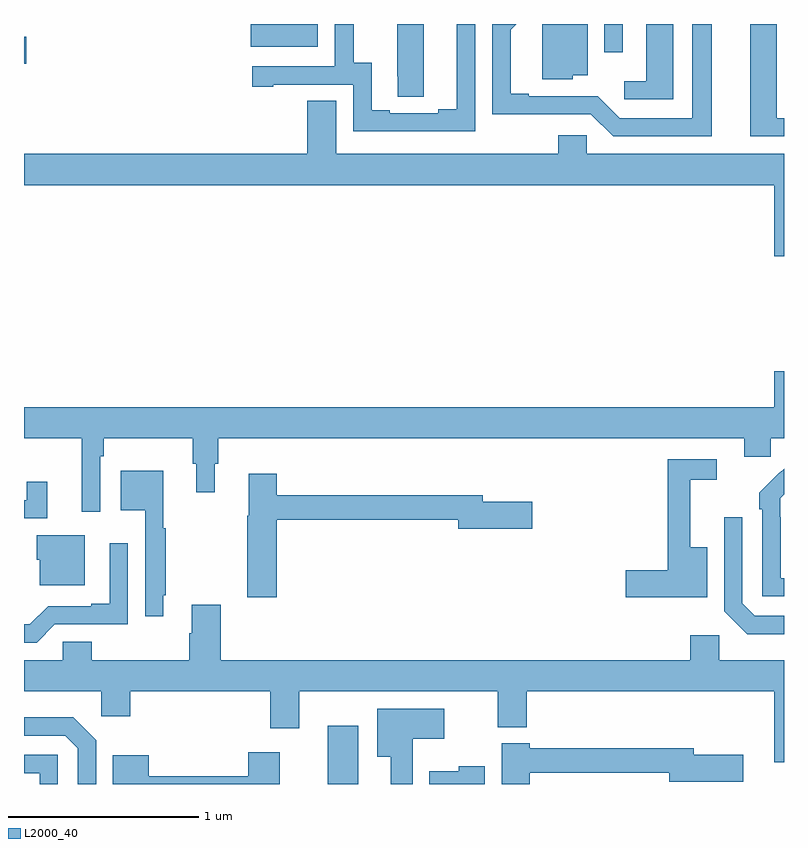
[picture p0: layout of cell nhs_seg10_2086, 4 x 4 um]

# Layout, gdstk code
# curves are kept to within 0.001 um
import gdstk
lib = gdstk.Library(unit=1e-6, precision=1e-09)
def R(c, l, rs):  # rectangles x0, y0, x1, y1
    for r in rs: c.add(gdstk.rectangle(r[:2], r[2:], *l))
def P(c, l, *ps):  # polygons
    for p in ps: c.add(gdstk.Polygon(p, *l))
L2000_40 = (2000, 40)

nhs_seg10_2086 = lib.new_cell('nhs_seg10_2086')
R(nhs_seg10_2086, L2000_40, [(222.599,1294.5,222.76,1294.807), (221,1298.29,221.011,1298.432), (224.055,1298.352,224.151,1298.5), (222.194,1298.381,222.547,1298.5)])
P(nhs_seg10_2086, L2000_40, [(223.887,1298.231),(223.966,1298.231),(223.966,1298.5),(223.727,1298.5),(223.727,1298.21),(223.887,1298.21)],
  [(223.374,1298.5),(223.277,1298.5),(223.277,1298.051),(223.181,1298.051),(223.181,1298.031),(222.925,1298.031),(222.925,1298.046),(222.829,1298.046),(222.829,1298.297),(222.735,1298.297),(222.735,1298.5),(222.636,1298.5),(222.636,1298.277),(222.201,1298.277),(222.201,1298.169),(222.313,1298.169),(222.313,1298.181),(222.732,1298.181),(222.732,1297.935),(223.374,1297.935)],
  [(225,1298.004),(224.962,1298.004),(224.962,1298.5),(224.822,1298.5),(224.822,1297.908),(225,1297.908)],
  [(224.62,1298.5),(224.516,1298.5),(224.516,1298.004),(224.136,1298.004),(224.019,1298.121),(223.657,1298.121),(223.657,1298.134),(223.561,1298.134),(223.561,1298.47),(223.591,1298.5),(223.464,1298.5),(223.464,1298.024),(223.983,1298.025),(224.1,1297.908),(224.62,1297.908)],
  [(223.105,1298.5),(222.965,1298.5),(222.965,1298.224),(222.966,1298.224),(222.966,1298.116),(223.105,1298.116)],
  [(224.416,1298.5),(224.276,1298.5),(224.276,1298.2),(224.16,1298.2),(224.16,1298.103),(224.416,1298.103)],
  [(225,1297.816),(223.962,1297.816),(223.962,1297.914),(223.811,1297.914),(223.811,1297.816),(222.643,1297.816),(222.643,1298.096),(222.491,1298.096),(222.491,1297.816),(221,1297.816),(221,1297.652),(224.948,1297.652),(224.948,1297.278),(225,1297.278)],
  [(221.4,1296.224),(221.42,1296.224),(221.42,1296.32),(221.887,1296.32),(221.887,1296.186),(221.906,1296.186),(221.906,1296.036),(222.004,1296.036),(222.004,1296.186),(222.023,1296.186),(222.023,1296.32),(224.792,1296.32),(224.792,1296.222),(224.931,1296.222),(224.931,1296.32),(225,1296.32),(225,1296.673),(224.948,1296.673),(224.948,1296.484),(221,1296.484),(221,1296.32),(221.303,1296.32),(221.303,1295.934),(221.4,1295.934)],
  [(224.596,1295.746),(224.507,1295.746),(224.507,1296.102),(224.647,1296.102),(224.647,1296.21),(224.389,1296.21),(224.389,1295.624),(224.166,1295.624),(224.166,1295.482),(224.596,1295.482)],
  [(225,1295.583),(224.982,1295.583),(224.982,1295.903),(224.979,1295.903),(224.979,1296.003),(225,1296.024),(225,1296.16),(224.977,1296.137),(224.976,1296.138),(224.871,1296.033),(224.871,1295.945),(224.886,1295.945),(224.886,1295.487),(225,1295.487)],
  [(221.734,1295.494),(221.746,1295.494),(221.746,1295.846),(221.734,1295.846),(221.734,1296.148),(221.51,1296.148),(221.51,1295.942),(221.637,1295.942),(221.637,1295.382),(221.734,1295.382)],
  [(222.329,1295.89),(223.286,1295.89),(223.286,1295.843),(223.675,1295.843),(223.675,1295.985),(223.414,1295.985),(223.414,1296.019),(222.329,1296.019),(222.329,1296.133),(222.182,1296.133),(222.182,1295.913),(222.175,1295.913),(222.175,1295.484),(222.329,1295.484)],
  [(221.123,1296.091),(221.014,1296.091),(221.014,1295.994),(221,1295.994),(221,1295.898),(221.123,1295.898)],
  [(225,1295.385),(224.847,1295.385),(224.781,1295.451),(224.781,1295.905),(224.685,1295.905),(224.685,1295.409),(224.806,1295.288),(225,1295.288)],
  [(221.32,1295.809),(221.066,1295.809),(221.066,1295.679),(221.084,1295.679),(221.084,1295.546),(221.32,1295.546)],
  [(221.163,1295.34),(221.547,1295.34),(221.547,1295.767),(221.45,1295.767),(221.45,1295.449),(221.354,1295.449),(221.354,1295.436),(221.127,1295.436),(221.031,1295.34),(221,1295.34),(221,1295.244),(221.067,1295.244)],
  [(225,1295.152),(224.658,1295.152),(224.658,1295.284),(224.507,1295.284),(224.507,1295.152),(222.035,1295.152),(222.035,1295.443),(221.882,1295.443),(221.882,1295.294),(221.87,1295.294),(221.87,1295.152),(221.357,1295.152),(221.357,1295.25),(221.205,1295.25),(221.205,1295.152),(221,1295.152),(221,1294.988),(221.406,1294.988),(221.406,1294.857),(221.558,1294.857),(221.558,1294.988),(222.296,1294.988),(222.296,1294.794),(222.448,1294.794),(222.448,1294.988),(223.493,1294.988),(223.493,1294.799),(223.646,1294.799),(223.646,1294.988),(224.948,1294.988),(224.948,1294.614),(225,1294.614)],
  [(223.045,1294.739),(223.213,1294.739),(223.213,1294.897),(222.86,1294.897),(222.86,1294.643),(222.929,1294.643),(222.929,1294.5),(223.045,1294.5)],
  [(221.379,1294.731),(221.258,1294.852),(221,1294.852),(221,1294.755),(221.217,1294.755),(221.283,1294.689),(221.283,1294.5),(221.379,1294.5)],
  [(223.661,1294.558),(224.396,1294.558),(224.396,1294.511),(224.785,1294.511),(224.785,1294.653),(224.524,1294.653),(224.524,1294.687),(223.661,1294.687),(223.661,1294.714),(223.514,1294.714),(223.514,1294.5),(223.661,1294.5)],
  [(222.346,1294.666),(222.179,1294.666),(222.179,1294.542),(221.656,1294.542),(221.656,1294.651),(221.468,1294.651),(221.468,1294.5),(222.346,1294.5)],
  [(221.178,1294.653),(221,1294.653),(221,1294.557),(221.082,1294.557),(221.082,1294.5),(221.178,1294.5)],
  [(223.426,1294.594),(223.287,1294.594),(223.287,1294.567),(223.133,1294.567),(223.133,1294.5),(223.426,1294.5)])

lib.write_gds('nhs_seg10_2086.gds')
